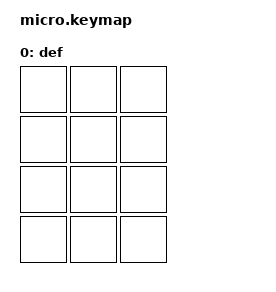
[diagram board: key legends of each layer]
#include <behaviors.dtsi>
#include <dt-bindings/zmk/keys.h>



/ { 

    keymap {
        compatible = "zmk,keymap";

        def {
            bindings = <
            &none &none &none 
            &none &none &none 
            &none &none &none
            &none &none &none
            >;
        };

    };
};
